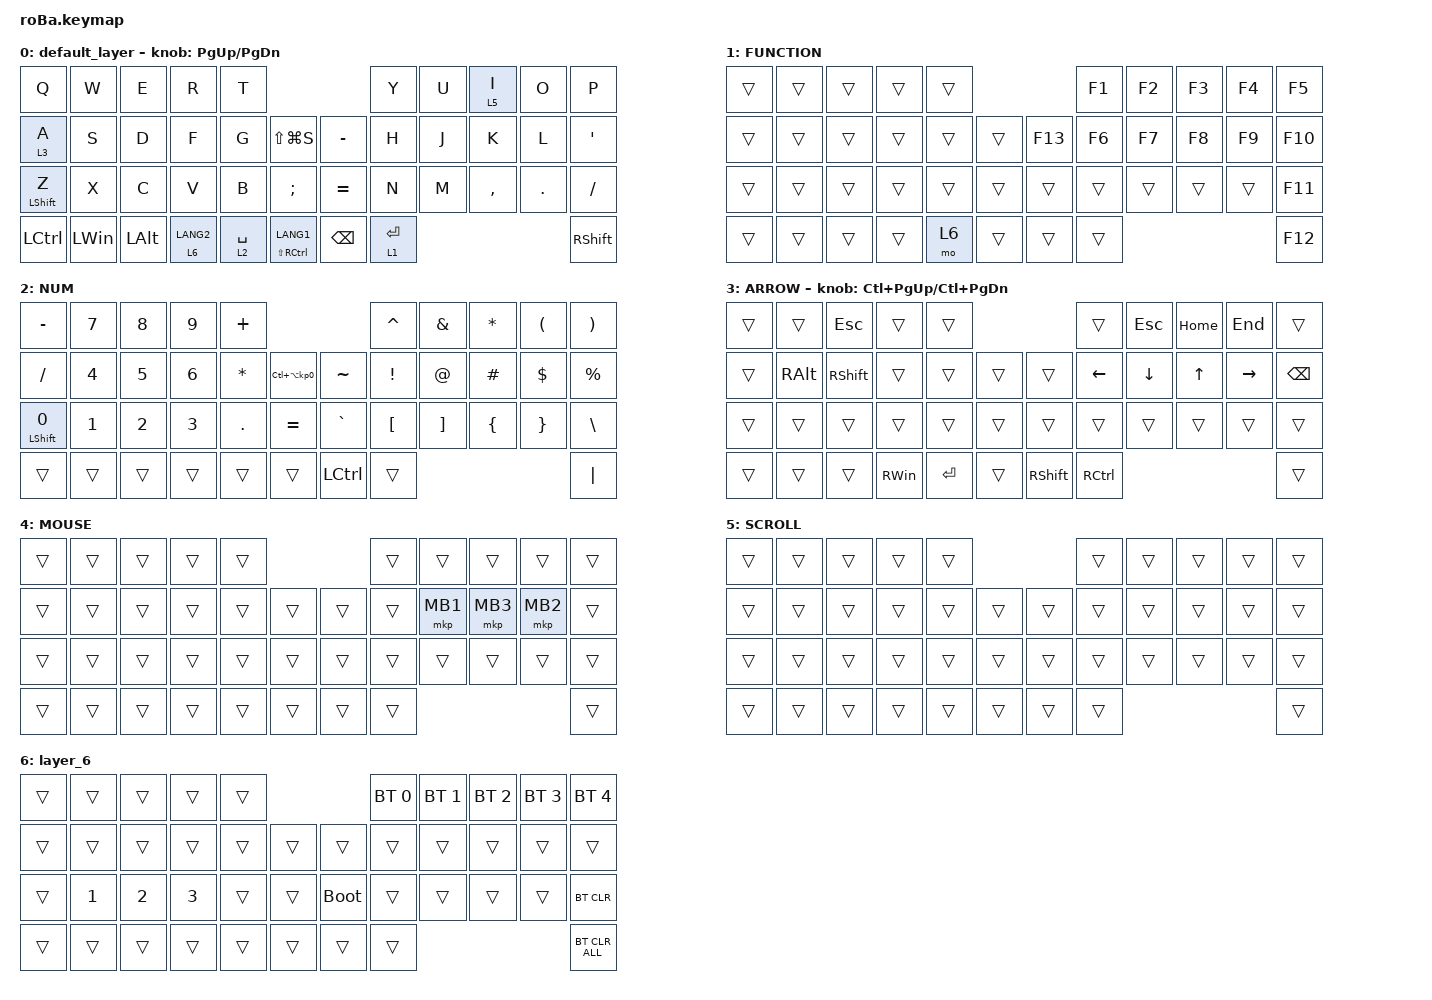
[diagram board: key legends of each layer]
#include <behaviors.dtsi>
#include <dt-bindings/zmk/bt.h>
#include <dt-bindings/zmk/keys.h>
#include <dt-bindings/zmk/pointing.h>

&mt {
    flavor = "balanced";
    quick-tap-ms = <0>;
};

&trackball {
    automouse-layer = <4>;
    scroll-layers = <5>;

    // arrows {
    //     layers = <3>;
    //     bindings =
    //         <&kp RIGHT_ARROW>,
    //         <&kp LEFT_ARROW>,
    //         <&kp UP_ARROW>,
    //         <&kp DOWN_ARROW>;
    //     tick = <10>;
    //     wait-ms = <5>;
    //     tap-ms = <5>;
    // };
};

/ {
    combos {
        compatible = "zmk,combos";

        tab {
            bindings = <&kp TAB>;
            key-positions = <18 19>;
        };

        shift_tab {
            bindings = <&kp LS(TAB)>;
            key-positions = <19 20>;
        };

        muhennkann {
            bindings = <&to_layer_0 INT_MUHENKAN>;
            key-positions = <11 10>;
        };

        semi_colon {
            bindings = <&kp SEMICOLON>;
            key-positions = <20 21>;
        };

        eq {
            bindings = <&kp EQUAL>;
            key-positions = <24 25>;
        };

        esc {
            bindings = <&kp ESCAPE>;
            key-positions = <2 3>;
        };

        prev {
            bindings = <&mkp MB4>;
            key-positions = <18 19>;
            layers = <2>;
        };

        next {
            bindings = <&mkp MB5>;
            key-positions = <19 20>;
            layers = <2>;
        };
    };

    macros {
        to_layer_0: to_layer_0 {
            compatible = "zmk,behavior-macro-one-param";
            #binding-cells = <1>;
            bindings = <&to 0 &macro_param_1to1 &kp MACRO_PLACEHOLDER>;
            label = "TO_LAYER_0";
        };
    };

    behaviors {
        lt_to_layer_0: lt_to_layer_0 {
            compatible = "zmk,behavior-hold-tap";
            label = "LAYER_TAP_TO_0";
            bindings = <&mo>, <&to_layer_0>;

            #binding-cells = <2>;
            tapping-term-ms = <200>;
        };
    };

    keymap {
        compatible = "zmk,keymap";

        default_layer {
            bindings = <
&kp Q             &kp W         &kp E         &kp R                   &kp T                                                &kp Y        &kp U  &lt 5 I    &kp O    &kp P
&lt 3 A           &kp S         &kp D         &kp F                   &kp G        &kp LS(LG(S))            &kp MINUS      &kp H        &kp J  &kp K      &kp L    &kp SQT
&mt LEFT_SHIFT Z  &kp X         &kp C         &kp V                   &kp B        &kp SEMICOLON            &kp EQUAL      &kp N        &kp M  &kp COMMA  &kp DOT  &kp SLASH
&kp LCTRL         &kp LEFT_WIN  &kp LEFT_ALT  &lt_to_layer_0 6 LANG2  &lt 2 SPACE  &mt LS(RCTRL) LANG1      &kp BACKSPACE  &lt 1 ENTER                             &kp RSHIFT
            >;

            sensor-bindings = <&inc_dec_kp PG_UP PAGE_DOWN>;
        };

        FUNCTION {
            bindings = <
&trans  &trans  &trans  &trans  &trans                       &kp F1  &kp F2  &kp F3  &kp F4  &kp F5
&trans  &trans  &trans  &trans  &trans  &trans      &kp F13  &kp F6  &kp F7  &kp F8  &kp F9  &kp F10
&trans  &trans  &trans  &trans  &trans  &trans      &trans   &trans  &trans  &trans  &trans  &kp F11
&trans  &trans  &trans  &trans  &mo 6   &trans      &trans   &trans                          &kp F12
            >;
        };

        NUM {
            bindings = <
&kp MINUS          &kp N7        &kp N8        &kp N9        &kp PLUS                                              &kp CARET         &kp AMPERSAND      &kp ASTRK       &kp LEFT_PARENTHESIS  &kp RIGHT_PARENTHESIS
&kp SLASH          &kp NUMBER_4  &kp N5        &kp NUMBER_6  &kp ASTERISK  &kp LC(LA(KP_NUMBER_0))      &kp TILDE  &kp EXCLAMATION   &kp AT_SIGN        &kp HASH        &kp DOLLAR            &kp PERCENT
&mt LEFT_SHIFT N0  &kp NUMBER_1  &kp NUMBER_2  &kp NUMBER_3  &kp PERIOD    &kp EQUAL                    &kp GRAVE  &kp LEFT_BRACKET  &kp RIGHT_BRACKET  &kp LEFT_BRACE  &kp RIGHT_BRACE       &kp BACKSLASH
&trans             &trans        &trans        &trans        &trans        &trans                       &kp LCTRL  &trans                                                                     &kp PIPE
            >;
        };

        ARROW {
            bindings = <
&trans  &trans         &kp ESCAPE       &trans         &trans                            &trans             &kp ESCAPE      &kp HOME      &kp END          &trans
&trans  &kp RIGHT_ALT  &kp RIGHT_SHIFT  &trans         &trans     &trans      &trans     &kp LEFT_ARROW     &kp DOWN_ARROW  &kp UP_ARROW  &kp RIGHT_ARROW  &kp BACKSPACE
&trans  &trans         &trans           &trans         &trans     &trans      &trans     &trans             &trans          &trans        &trans           &trans
&trans  &trans         &trans           &kp RIGHT_WIN  &kp ENTER  &trans      &kp RSHFT  &kp RIGHT_CONTROL                                                 &trans
            >;

            sensor-bindings = <&inc_dec_kp LC(PAGE_UP) LC(PAGE_DOWN)>;
        };

        MOUSE {
            bindings = <
&trans  &trans  &trans  &trans  &trans                      &trans  &trans    &trans    &trans    &trans
&trans  &trans  &trans  &trans  &trans  &trans      &trans  &trans  &mkp MB1  &mkp MB3  &mkp MB2  &trans
&trans  &trans  &trans  &trans  &trans  &trans      &trans  &trans  &trans    &trans    &trans    &trans
&trans  &trans  &trans  &trans  &trans  &trans      &trans  &trans                                &trans
            >;
        };

        SCROLL {
            bindings = <
&trans  &trans  &trans  &trans  &trans                      &trans  &trans  &trans  &trans  &trans
&trans  &trans  &trans  &trans  &trans  &trans      &trans  &trans  &trans  &trans  &trans  &trans
&trans  &trans  &trans  &trans  &trans  &trans      &trans  &trans  &trans  &trans  &trans  &trans
&trans  &trans  &trans  &trans  &trans  &trans      &trans  &trans                          &trans
            >;
        };

        layer_6 {
            bindings = <
&trans  &trans        &trans        &trans        &trans                           &bt BT_SEL 0  &bt BT_SEL 1  &bt BT_SEL 2  &bt BT_SEL 3  &bt BT_SEL 4
&trans  &trans        &trans        &trans        &trans  &trans      &trans       &trans        &trans        &trans        &trans        &trans
&trans  &kp NUMBER_1  &kp NUMBER_2  &kp NUMBER_3  &trans  &trans      &bootloader  &trans        &trans        &trans        &trans        &bt BT_CLR
&trans  &trans        &trans        &trans        &trans  &trans      &trans       &trans                                                  &bt BT_CLR_ALL
            >;
        };
    };
};
